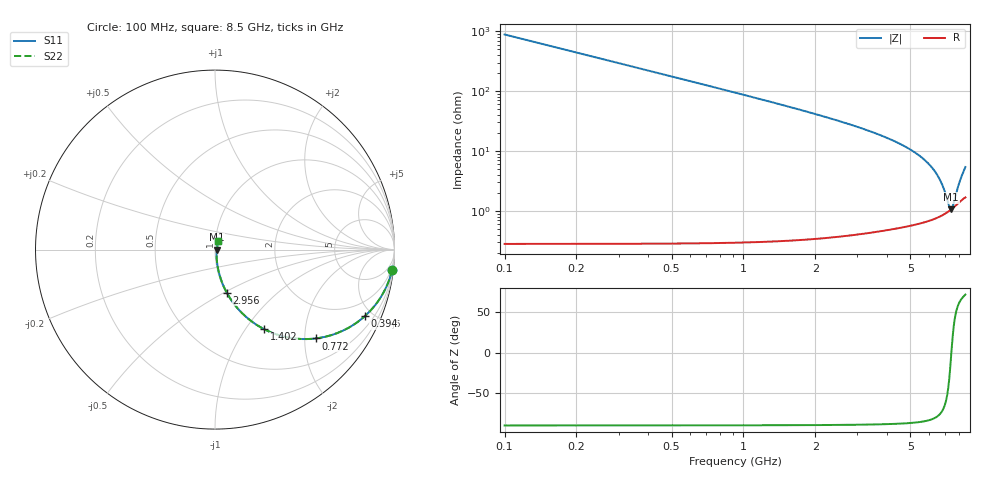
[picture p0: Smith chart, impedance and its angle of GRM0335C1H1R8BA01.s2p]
!Murata Part Number: GRM0335C1H1R8BA01
!These Parameters are Measured in Series Mode Connection
!Data Generated on Mar 30, 2021
!  o--ll--o
!Port1  Port2
!  o------o
!Operation Temp=25[degC], DC Bias Voltage=0[V]
!Freq. Start=100[MHz] Stop=9[GHz] 401[Steps]
# Hz S RI R 50
!Freq.(Hz) S11(Real) S11(Imag) S21(Real) S21(Imag) S12(Real) S12(Imag) S22(Real) S22(Imag)
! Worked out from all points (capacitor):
!   401 points, 100 MHz to 8.5 GHz, reference 50 ohm
!   read as one part in series: C = 1.8 pF near 142 MHz
!   lowest |Z| = 1.06 ohm at 7.408 GHz (marker M1)
!   series resonance near 7.425 GHz, so ESL is about 260 pH
!   S11 on the Smith chart (normalised r, x): 100 MHz: 1, -18; 394 MHz: 1.01, -4.48; 772 MHz: 1.01, -2.27; 1.402 GHz: 1.01, -1.22; 2.956 GHz: 1.01, -0.52; 8.5 GHz: 1.03, +0.10
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1e8  0.9873 -0.1117  0.0127 0.1117  0.0127 0.1117  0.9873 -0.1117
2.47e8  0.9273 -0.2592  0.0727 0.2592  0.0727 0.2592  0.9273 -0.2592
3.94e8  0.8333 -0.372  0.1667 0.372  0.1667 0.372  0.8333 -0.372
5.62e8  0.7099 -0.4529  0.2901 0.4529  0.2901 0.4529  0.7099 -0.4529
7.72e8  0.5627 -0.4948  0.4373 0.4948  0.4373 0.4948  0.5627 -0.4948
1.066e9  0.3993 -0.4879  0.6007 0.4879  0.6007 0.4879  0.3993 -0.4879
1.402e9  0.273 -0.443  0.727 0.443  0.727 0.443  0.273 -0.443
1.507e9  0.2438 -0.4266  0.7562 0.4266  0.7562 0.4266  0.2438 -0.4266
2.095e9  0.136 -0.3384  0.864 0.3384  0.864 0.3384  0.136 -0.3384
2.914e9  0.0679 -0.2442  0.9321 0.2442  0.9321 0.2442  0.0679 -0.2442
2.956e9  0.0657 -0.2402  0.9343 0.2402  0.9343 0.2402  0.0657 -0.2402
4.3e9  0.0253 -0.1408  0.9747 0.1408  0.9747 0.1408  0.0253 -0.1408
5.707e9  0.0114 -0.0706  0.9886 0.0706  0.9886 0.0706  0.0114 -0.0706
6.169e9  0.00967 -0.0511  0.9903 0.0511  0.9903 0.0511  0.00967 -0.0511
6.547e9  0.00903 -0.0356  0.991 0.0356  0.991 0.0356  0.00903 -0.0356
6.841e9  0.00903 -0.0238  0.991 0.0238  0.991 0.0238  0.00903 -0.0238
7.114e9  0.00945 -0.0127  0.9905 0.0127  0.9905 0.0127  0.00945 -0.0127
7.303e9  0.01 -0.00502  0.99 0.00502  0.99 0.00502  0.01 -0.00502
7.408e9  0.0104 -0.000693  0.9896 0.000693  0.9896 0.000693  0.0104 -0.000693
7.534e9  0.011 0.00455  0.989 -0.00455  0.989 -0.00455  0.011 0.00455
8.038e9  0.0145 0.0264  0.9855 -0.0264  0.9855 -0.0264  0.0145 0.0264
8.5e9  0.019 0.0495  0.981 -0.0495  0.981 -0.0495  0.019 0.0495
